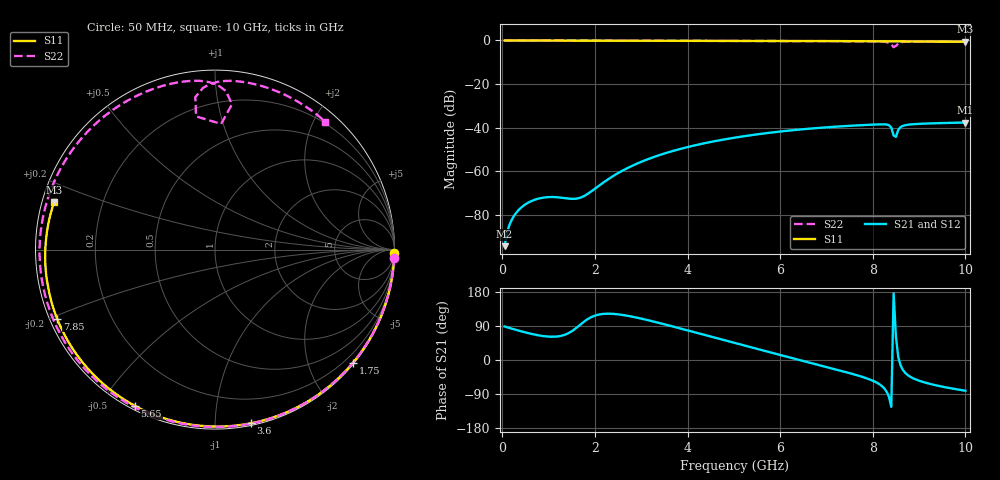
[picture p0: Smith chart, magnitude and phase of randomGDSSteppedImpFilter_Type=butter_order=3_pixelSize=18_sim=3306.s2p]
! freq	dB(S11)	phase(S11)	dB(S12)	phase(S12)
!  dB(S21)	phase(S21)	dB(S22)	phase(S22)
!S-par simulation data
#  GHz  S  DB  R 50
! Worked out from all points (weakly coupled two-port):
!   200 points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, 50 MHz to 10 GHz, reference 50 ohm
!   highest |S21| = -37.60 dB at 10 GHz (marker M1); lowest = -94.2 dB at 50 MHz (marker M2)
!   lowest |S11| = -0.6 dB at 10 GHz (marker M3), VSWR 29.54, Z = 1.73 + j7.2 ohm
!   |S11| at or under -10 dB: nowhere
!   |S22| runs from -3.1 to 0.0 dB; largest |S21 - S12| = 0
!   S11 on the Smith chart (normalised r, x): 50 MHz: 0, -99; 1.75 GHz: 0.03, -2.79; 3.6 GHz: 0.01, -1.23; 5.65 GHz: 0.02, -0.61; 7.85 GHz: 0.02, -0.21; 10 GHz: 0.03, +0.14
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0.05  -0.00 -1.2  -94.24 88.4  -94.24 88.4  -0.00 -2.5
0.25  -0.01 -5.7  -80.46 81.1  -80.46 81.1  -0.02 -12.5
0.5  -0.01 -11.4  -75.07 72.8  -75.07 72.8  -0.03 -24.8
0.8  -0.02 -18.3  -72.35 64.7  -72.35 64.7  -0.05 -39.2
1.25  -0.04 -28.4  -71.96 63.2  -71.96 63.2  -0.07 -59.8
1.75  -0.05 -39.5  -71.44 99.7  -71.44 99.7  -0.09 -81.0
2.6  -0.07 -57.7  -59.59 118.8  -59.59 118.8  -0.12 -112.6
3.4  -0.10 -74.2  -52.47 97.4  -52.47 97.4  -0.14 -138.1
3.6  -0.10 -78.2  -51.15 91.1  -51.15 91.1  -0.15 -144.0
4.3  -0.13 -92.0  -47.38 68.4  -47.38 68.4  -0.17 -163.6
5.05  -0.16 -106.1  -44.42 43.9  -44.42 43.9  -0.20 176.9
5.65  -0.19 -117.1  -42.61 24.5  -42.61 24.5  -0.23 161.7
6.7  -0.26 -136.0  -40.29 -8.8  -40.29 -8.8  -0.29 135.4
7.85  -0.35 -156.4  -38.70 -47.6  -38.70 -47.6  -0.39 105.0
8.35  -0.41 -165.3  -38.83 -97.5  -38.83 -97.5  -1.05 86.1
8.4  -0.41 -166.2  -39.90 -123.5  -39.90 -123.5  -1.77 83.3
8.45  -0.42 -167.1  -43.54 175.9  -43.54 175.9  -3.08 87.2
8.5  -0.42 -168.0  -44.18 61.6  -44.18 61.6  -2.50 98.1
8.55  -0.42 -168.9  -40.95 8.0  -40.95 8.0  -1.35 97.4
8.7  -0.44 -171.7  -38.82 -33.9  -38.82 -33.9  -0.58 89.0
9.3  -0.50 177.2  -37.95 -65.0  -37.95 -65.0  -0.47 69.3
10  -0.59 163.6  -37.60 -81.1  -37.60 -81.1  -0.53 49.2
